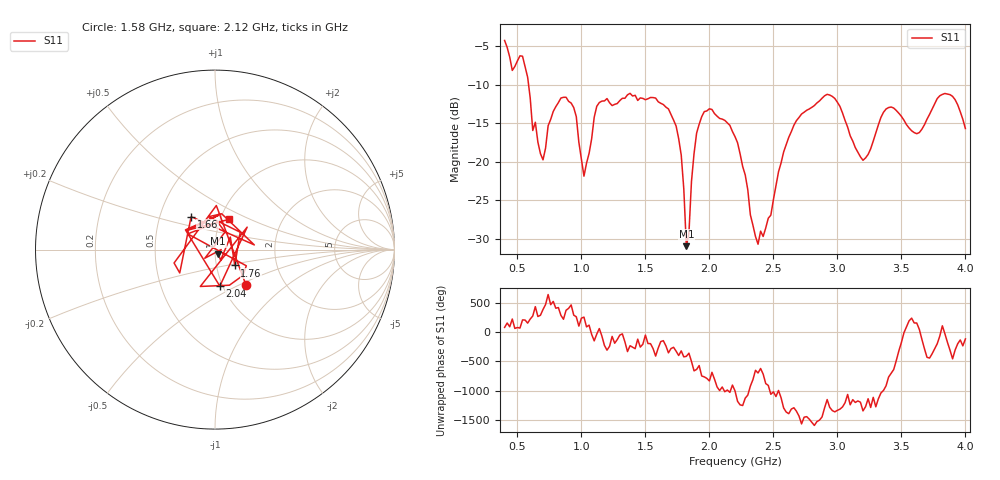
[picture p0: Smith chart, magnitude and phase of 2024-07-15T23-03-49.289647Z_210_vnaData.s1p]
!Created with skrf (http://scikit-rf.org).
# Hz S RI R 50.0
!freq ReS11 ImS11
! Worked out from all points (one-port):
!   181 points, 400 MHz to 4 GHz, reference 50 ohm
!   lowest |S11| = -31.0 dB at 1.82 GHz (marker M1), VSWR 1.06, Z = 51.7 - j2.32 ohm
!   |S11| at or under -10 dB: 587.3 MHz to end of sweep
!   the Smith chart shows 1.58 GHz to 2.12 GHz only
!   S11 on the Smith chart (normalised r, x): 1.58 GHz: 1.29, -0.54; 1.66 GHz: 0.72, +0.28; 1.76 GHz: 1.23, -0.22; 2.04 GHz: 0.97, -0.41; 2.12 GHz: 1.10, +0.38
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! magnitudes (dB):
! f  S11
! 400 MHz  -4.2
! 460 MHz  -8.1
! 540 MHz  -6.3
! 620 MHz  -15.9
! 700 MHz  -19.7
! 860 MHz  -11.6
! 960 MHz  -14.1
! 1.02 GHz  -21.9
! 1.12 GHz  -12.8
! 1.3 GHz  -12.0
! 1.58 GHz  -11.7
! 1.66 GHz  -12.9
! 1.76 GHz  -17.0
! 1.8 GHz  -23.5
! 1.82 GHz  -31.0
! 1.9 GHz  -16.3
! 2.04 GHz  -13.7
! 2.12 GHz  -14.6
! 2.2 GHz  -16.7
! 2.38 GHz  -30.7
! 2.66 GHz  -15.3
! 2.92 GHz  -11.2
! 3.1 GHz  -16.6
! 3.2 GHz  -19.8
! 3.38 GHz  -13.1
! 3.56 GHz  -15.6
! 3.84 GHz  -11.1
! 4 GHz  -15.7
